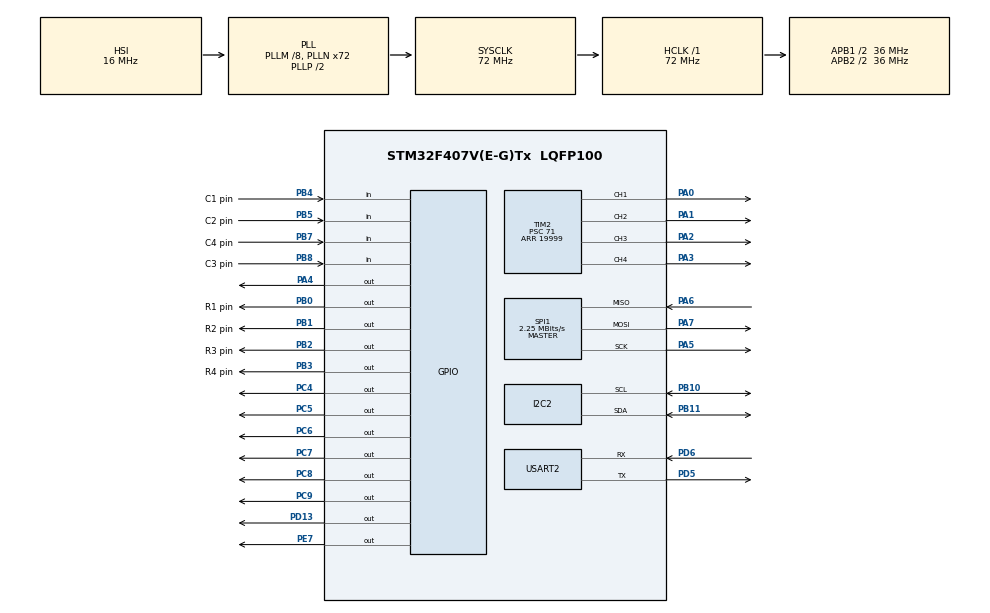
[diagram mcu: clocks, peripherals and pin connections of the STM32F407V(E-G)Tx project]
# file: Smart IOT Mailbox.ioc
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Mcu.Family=STM32F4
Mcu.Name=STM32F407V(E-G)Tx
Mcu.Package=LQFP100
NVIC.PriorityGroup=NVIC_PRIORITYGROUP_0
PA0-WKUP.Signal=S_TIM2_CH1_ETR
PA1.Signal=S_TIM2_CH2
PA13.Mode=Serial_Wire
PA13.Signal=SYS_JTMS-SWDIO
PA14.Mode=Serial_Wire
PA14.Signal=SYS_JTCK-SWCLK
PA2.Signal=S_TIM2_CH3
PA3.Signal=S_TIM2_CH4
PA4.Signal=GPIO_Output
PA5.Mode=Full_Duplex_Master
PA5.Signal=SPI1_SCK
PA6.Mode=Full_Duplex_Master
PA6.Signal=SPI1_MISO
PA7.Mode=Full_Duplex_Master
PA7.Signal=SPI1_MOSI
PB0.GPIO_Label=R1 pin
PB0.Signal=GPIO_Output
PB1.GPIO_Label=R2 pin
PB1.Signal=GPIO_Output
PB10.GPIO_Pu=GPIO_PULLUP
PB10.Mode=I2C
PB10.Signal=I2C2_SCL
PB11.GPIO_Pu=GPIO_PULLUP
PB11.Mode=I2C
PB11.Signal=I2C2_SDA
PB2.GPIO_Label=R3 pin
PB2.Signal=GPIO_Output
PB3.GPIO_Label=R4 pin
PB3.Signal=GPIO_Output
PB4.GPIO_Label=C1 pin
PB4.GPIO_PuPd=GPIO_PULLDOWN
PB4.Signal=GPIO_Input
PB5.GPIO_Label=C2 pin
PB5.GPIO_PuPd=GPIO_PULLDOWN
PB5.Signal=GPIO_Input
PB7.GPIO_Label=C4 pin
PB7.GPIO_PuPd=GPIO_PULLDOWN
PB7.Signal=GPIO_Input
PB8.GPIO_Label=C3 pin
PB8.GPIO_PuPd=GPIO_PULLDOWN
PB8.Signal=GPIO_Input
PC4.Signal=GPIO_Output
PC5.Signal=GPIO_Output
PC6.Signal=GPIO_Output
PC7.Signal=GPIO_Output
PC8.Signal=GPIO_Output
PC9.Signal=GPIO_Output
PD13.Signal=GPIO_Output
PD5.Mode=Asynchronous
PD5.Signal=USART2_TX
PD6.Mode=Asynchronous
PD6.Signal=USART2_RX
PE7.Signal=GPIO_Output
PH0-OSC_IN.Mode=HSE-External-Oscillator
PH0-OSC_IN.Signal=RCC_OSC_IN
PH1-OSC_OUT.Mode=HSE-External-Oscillator
PH1-OSC_OUT.Signal=RCC_OSC_OUT
ProjectManager.HeapSize=0x200
ProjectManager.StackSize=0x400
ProjectManager.TargetToolchain=STM32CubeIDE
RCC.48MHZClocksFreq_Value=20571428.57142857
RCC.AHBFreq_Value=72000000
RCC.APB1CLKDivider=RCC_HCLK_DIV2
RCC.APB1Freq_Value=36000000
RCC.APB1TimFreq_Value=72000000
RCC.APB2CLKDivider=RCC_HCLK_DIV2
RCC.APB2Freq_Value=36000000
RCC.APB2TimFreq_Value=72000000
RCC.CortexFreq_Value=72000000
RCC.HCLKFreq_Value=72000000
RCC.HSE_VALUE=8000000
RCC.HSI_VALUE=16000000
RCC.LSE_VALUE=32768
RCC.PLLM=8
RCC.PLLN=72
RCC.PLLQ=7
RCC.SYSCLKFreq_VALUE=72000000
RCC.SYSCLKSource=RCC_SYSCLKSOURCE_PLLCLK
RCC.VCOOutputFreq_Value=144000000
SH.S_TIM2_CH1_ETR.0=TIM2_CH1,PWM Generation1 CH1
SH.S_TIM2_CH2.0=TIM2_CH2,PWM Generation2 CH2
SH.S_TIM2_CH3.0=TIM2_CH3,PWM Generation3 CH3
SH.S_TIM2_CH4.0=TIM2_CH4,PWM Generation4 CH4
SPI1.BaudRatePrescaler=SPI_BAUDRATEPRESCALER_16
SPI1.CalculateBaudRate=2.25 MBits/s
SPI1.DataSize=SPI_DATASIZE_8BIT
SPI1.Direction=SPI_DIRECTION_2LINES
SPI1.Mode=SPI_MODE_MASTER
SPI1.VirtualType=VM_MASTER
TIM2.Channel-PWM\ Generation1\ CH1=TIM_CHANNEL_1
TIM2.Channel-PWM\ Generation2\ CH2=TIM_CHANNEL_2
TIM2.Channel-PWM\ Generation3\ CH3=TIM_CHANNEL_3
TIM2.Channel-PWM\ Generation4\ CH4=TIM_CHANNEL_4
TIM2.Period=19999
TIM2.Prescaler=71
USART2.VirtualMode=VM_ASYNC
VP_TIM2_VS_ClockSourceINT.Mode=Internal
board=STM32F407G-DISC1

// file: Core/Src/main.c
/* USER CODE BEGIN Header */
/**
  ******************************************************************************
  * @file           : main.c
  * @brief          : Main program body
  ******************************************************************************
  * @attention
  *
  * Copyright (c) 2025 STMicroelectronics.
  * All rights reserved.
  *
  * This software is licensed under terms that can be found in the LICENSE file
  * in the root directory of this software component.
  * If no LICENSE file comes with this software, it is provided AS-IS.
  *
  ******************************************************************************
  */
/* USER CODE END Header */
#include "main.h"

/* USER CODE BEGIN Includes */
#include "RC522.h"
#include "2RC522.h"
#include "string.h"
#include "liquidcrystal_i2c.h"
#include "stdlib.h"
#include "stdbool.h"
/* USER CODE END Includes */

/* USER CODE BEGIN PTD */

#define startAddress 0x080E0000

typedef struct{
	uchar mailCount;
	uchar parcelCount;
	uchar mailFlag;
	uchar parcelFlag;
}user_t;

typedef enum {
	HOME_SCREEN,
    MAIN_MENU,
    USER_MENU,
    MAIL_MENU,
    PACKAGE_MENU,
    CHECK_MAIL,
    RETRIEVE_MAIL,
    CHECK_PACKAGE,
    RETRIEVE_PACKAGE
} MenuState_t;
/* USER CODE END PTD */

/* USER CODE BEGIN PD */
#define TRUE 1
#define FALSE 0
#define MAX_ATTEMPTS 3
/* USER CODE END PD */

I2C_HandleTypeDef hi2c2;

SPI_HandleTypeDef hspi1;

TIM_HandleTypeDef htim2;

UART_HandleTypeDef huart2;

/* USER CODE BEGIN PV */
uchar status;
uchar str[16];
uchar sNum[5];

//user UID's
uchar user1[5] = {227,255,193,12,209};
uchar user2[5] = {163,139,152,61,141};
uchar user3[5] = {181,129,175,33,186};
uchar user4[5] = {85,31,230,33,141};
uchar user5[5] = {201,78,64,148,83};
uchar user6[5] = {57,149,59,148,3};

user_t user1Info = {0,0,0,0};
user_t user2Info = {0,0,0,0};
user_t user3Info = {0,0,0,0};

MenuState_t currentState = MAIN_MENU;
uint8_t currentUser = 0;  // User 1, 2, or 3

char txData[];

char genPassword1[5] = "1234";
char genPassword2[5] = "5678";
char genPassword3[5] = "9876";
char genPassword4[5] = "5555";
char genPassword5[5] = "6666";
char genPassword6[5] = "7777";
char inputPassword[5];   // Buffer to store entered password
uint8_t passwordIndex = 0;
uint8_t attempts = 0;
bool enteringPassword = FALSE;

char buf[70];
char buf1[8];

/* USER CODE END PV */

void SystemClock_Config(void);
static void MX_GPIO_Init(void);
static void MX_SPI1_Init(void);
static void MX_TIM2_Init(void);
static void MX_I2C2_Init(void);
static void MX_USART2_UART_Init(void);
/* USER CODE BEGIN PFP */

char scanKeys(void);
uchar compareIntArrays(uchar *arr1, uchar *arr2, uchar size);
uchar readtagsFromRDR1 ();
uchar readtagsFromRDR2 ();
void clearArrayEle (uchar *arrPtr, uchar size);
uchar checkValidUser(uchar *arr1, uchar *arr2, uchar *arr3, uchar *arr4, uchar *arr5, uchar *arr6, uchar size);

void welcomeMsglcd (void);
void newNotificationlcd(const char *line1, const char *line2, uint16_t delay_ms);
void setLCDHMIscreen(const char *line1, const char *line2);

void DisplayMenu(MenuState_t state, char key);
char* getUserPassword();
void HandleInput(char key);

void generate_password(uchar *password);

/* USER CODE END PFP */

int main(void)
{

  /* USER CODE BEGIN 1 */
	uchar statusRDR1;
	uchar statusRDR2;
	uchar compareFlag;
	uchar compareFlag2;
	uchar userValidmail;
	uchar userValidpack;

  /* USER CODE END 1 */

  /* MCU Configuration--------------------------------------------------------*/

  /* Reset of all peripherals, Initializes the Flash interface and the Systick. */
  HAL_Init();

  /* Configure the system clock */
  SystemClock_Config();

  /* Initialize all configured peripherals */
  MX_GPIO_Init();
  MX_SPI1_Init();
  MX_TIM2_Init();
  MX_I2C2_Init();
  MX_USART2_UART_Init();
  /* USER CODE BEGIN 2 */

  MFRC522_1_Init();
  MFRC522_2_Init();

  HAL_TIM_PWM_Start_IT(&htim2, TIM_CHANNEL_1);
  HAL_TIM_PWM_Start_IT(&htim2, TIM_CHANNEL_2);
  HAL_TIM_PWM_Start_IT(&htim2, TIM_CHANNEL_3);
  HAL_TIM_PWM_Start_IT(&htim2, TIM_CHANNEL_4);

  HD44780_Init(2);
  HD44780_Clear();
  HD44780_SetCursor(0,0);
  HD44780_PrintStr("HELLO");
  HD44780_SetCursor(6,0);
  HD44780_PrintStr("WORLD");
  HAL_Delay(2000);
  HD44780_Clear();
  HD44780_SetCursor(0,0);
  HD44780_PrintStr("Welcome to ");
  HD44780_SetCursor(0,1);
  HD44780_PrintStr("Smart IOTmailbox");
  HAL_Delay(5000);
	//HD44780_Clear();
	//HD44780_SetCursor(0,0);
	//HD44780_PrintStr("Press 0 To Strt");

  /*LCD code
  HD44780_Clear();
  HD44780_SetCursor(0,0);
  HD44780_PrintStr("HELLO");
  HAL_Delay(2000);
  HD44780_NoBacklight();
  HAL_Delay(2000);
  HD44780_Backlight();

  HAL_Delay(2000);
  HD44780_Cursor();
  HAL_Delay(2000);
  HD44780_Blink();
  HAL_Delay(5000);
  HD44780_NoBlink();
  HAL_Delay(2000);
  HD44780_NoCursor();
  HAL_Delay(2000);

  HD44780_NoDisplay();
  HAL_Delay(2000);
  HD44780_Display();

  HD44780_Clear();
  HD44780_SetCursor(0,0);
  HD44780_PrintStr("Learning STM32 with LCD is fun :-)");
  int x;
  for(int x=0; x<40; x=x+1)
  {
	 HD44780_ScrollDisplayLeft();  //HD44780_ScrollDisplayRight();
	 HAL_Delay(500);
  }

  char snum[5];
  for ( int x = 1; x <= 200 ; x++ )
  {
      itoa(x, snum, 10);
	  HD44780_Clear();
	  HD44780_SetCursor(0,0);
	  HD44780_PrintStr(snum);
	  HAL_Delay (1000);
  }*/

  /* USER CODE END 2 */

  /* Infinite loop */
  while (1)
  {

    /* USER CODE BEGIN 3 */
	  	 //scan for key pressed
		 char key = scanKeys();
		 if(key)
		 {
			 //function for action related to key pressed
			 HandleInput(key);//HMI function
		 }

	  //Scan from reader 1 for post mails
	  	statusRDR1 = readtagsFromRDR1();
	  	//IF valid read then enter
	  	if(! statusRDR1)
	  	{
	  		userValidmail = checkValidUser(sNum, user1, user2, user3, user4, user5, 5);
	  		if(userValidmail)
	  		{
	  			//user 1 is assigned two mails
				compareFlag =  compareIntArrays(sNum, user1, 5);
				compareFlag2 =  compareIntArrays(sNum, user4, 5);
				//check how many mails user 1 has
				if(compareFlag || compareFlag2 )
				{
					user1Info.mailCount++;
					if(user1Info.mailFlag != TRUE)
					{
						user1Info.mailFlag = TRUE;
					}

					//If has one mail
					if(user1Info.mailCount == 1 )
					{
						 //sorting flap
						__HAL_TIM_SET_COMPARE(&htim2, TIM_CHANNEL_2, 1100);
						HAL_Delay(2000);
						//top flap
						__HAL_TIM_SET_COMPARE(&htim2, TIM_CHANNEL_1, 500);
						HAL_Delay(1000);

						//re-allign flap to initial position
						__HAL_TIM_SET_COMPARE(&htim2, TIM_CHANNEL_1, 1500);
						HAL_Delay(1000);
						__HAL_TIM_SET_COMPARE(&htim2, TIM_CHANNEL_2, 1500);

						newNotificationlcd("User 1 got", "a new mail", 2000);
						generate_password(genPassword1);
						newNotificationlcd(genPassword1, " ", 1000);

						for(int i=0; i<30;i++)
						{
							HAL_GPIO_TogglePin(GPIOC, GPIO_PIN_6);
							HAL_Delay(100); // 10ms delay
						}
						HAL_GPIO_WritePin(GPIOC, GPIO_PIN_6, GPIO_PIN_SET);

						//save the notification locally and send it to the ESP32
						sprintf(buf1,"USER1\n\r");
						HAL_UART_Transmit(&huart2,buf1,sizeof(buf1), HAL_MAX_DELAY);
						clearArrayEle(buf1 ,8);

						//save the notification locally and send it to the ESP32
						sprintf(buf,"User 1 has got a new mail. Your one time password is %s\n",genPassword1);
						HAL_UART_Transmit(&huart2,buf,sizeof(buf), HAL_MAX_DELAY);
						clearArrayEle(buf ,70);

					}

					//if has more than one mail
					else if(user1Info.mailCount > 1 )
					{
						__HAL_TIM_SET_COMPARE(&htim2, TIM_CHANNEL_2, 1100);
						HAL_Delay(2000);
						//top flap
						__HAL_TIM_SET_COMPARE(&htim2, TIM_CHANNEL_1, 500);
						HAL_Delay(1000);

						//re-allign flap to initial position
						__HAL_TIM_SET_COMPARE(&htim2, TIM_CHANNEL_1, 1500);
						HAL_Delay(1000);
						__HAL_TIM_SET_COMPARE(&htim2, TIM_CHANNEL_2, 1500);

						newNotificationlcd("User 1 got", "2 new mail", 2000);
						generate_password(genPassword1);
						newNotificationlcd(genPassword1, " ", 1000);
						//flash led for 3 secs and set it
						for(int i=0; i<30;i++)
						{
							HAL_GPIO_TogglePin(GPIOC, GPIO_PIN_6);
							HAL_Delay(100); // 10ms delay
						}
						HAL_GPIO_WritePin(GPIOC, GPIO_PIN_6, GPIO_PIN_SET);
						//save the notification locally and send it to the ESP32
						sprintf(buf1,"USER1\n\r");
						HAL_UART_Transmit(&huart2,buf1,sizeof(buf1), HAL_MAX_DELAY);
						clearArrayEle(buf1 ,8);
						//save the notification locally and send it to the ESP32
						sprintf(buf,"User 1 has got 2 new mails. Your one time password is %s\n",genPassword1);
						HAL_UART_Transmit(&huart2,buf,sizeof(buf), HAL_MAX_DELAY);
						clearArrayEle(buf ,70);
					}
					clearArrayEle(sNum ,5);
					welcomeMsglcd();

				}

				//if user 2 has mail
				compareFlag =  compareIntArrays(sNum, user2, 5);
				if(compareFlag)
				{
					if(user2Info.mailFlag != TRUE)
					{
						user2Info.mailFlag = TRUE;
					}
					//sorting flap
					__HAL_TIM_SET_COMPARE(&htim2, TIM_CHANNEL_3, 800);
					HAL_Delay(2000);
					//top flap
					__HAL_TIM_SET_COMPARE(&htim2, TIM_CHANNEL_1, 500);
					HAL_Delay(1000);

					//re-allign flap to initial position
					__HAL_TIM_SET_COMPARE(&htim2, TIM_CHANNEL_1, 1500);
					HAL_Delay(1000);
					__HAL_TIM_SET_COMPARE(&htim2, TIM_CHANNEL_3, 1500);

					newNotificationlcd("User 2 got", "a new mail", 2000);
					generate_password(genPassword2);
					newNotificationlcd(genPassword2, " ", 1000);
					//flash led for 3secs and set it
					for(int i=0; i<30;i++)
					{
						HAL_GPIO_TogglePin(GPIOC, GPIO_PIN_7);
						HAL_Delay(100); // 10ms delay
					}
					HAL_GPIO_WritePin(GPIOC, GPIO_PIN_7, GPIO_PIN_SET);

					//save the notification locally and send it to the ESP32
					sprintf(buf1,"USER2\n\r");
					HAL_UART_Transmit(&huart2,buf1,sizeof(buf1), HAL_MAX_DELAY);
					clearArrayEle(buf1 ,8);

					//save the notification locally and send it to the ESP32
					sprintf(buf,"User 2 has got a new mail. Your one time password is %s\n\r",genPassword2);
					HAL_UART_Transmit(&huart2,buf,sizeof(buf), HAL_MAX_DELAY);
					clearArrayEle(buf ,70);

					clearArrayEle(sNum ,5);
					welcomeMsglcd();
				}

				//if user 3 has mail
				compareFlag =  compareIntArrays(sNum, user3, 5);
				if(compareFlag)
				{
					if(user3Info.mailFlag != TRUE)
					{
						user3Info.mailFlag = TRUE;
					}
					//intake flap
					__HAL_TIM_SET_COMPARE(&htim2, TIM_CHANNEL_1, 500);
					HAL_Delay(3000);
					//re-allign flap to initial position
					__HAL_TIM_SET_COMPARE(&htim2, TIM_CHANNEL_1, 1500);

					newNotificationlcd("User 3 got", "a new mail", 2000);
					generate_password(genPassword3);
					newNotificationlcd(genPassword3, " ", 1000);
					//flash led for 3secs and set it
					for(int i=0; i<30;i++)
					{
						HAL_GPIO_TogglePin(GPIOC, GPIO_PIN_8);
						HAL_Delay(100); // 10ms delay
					}
					HAL_GPIO_WritePin(GPIOC, GPIO_PIN_8, GPIO_PIN_SET);

					//save the notification locally and send it to the ESP32
					sprintf(buf,"USER3\n");
					HAL_UART_Transmit(&huart2,buf,sizeof(buf), HAL_MAX_DELAY);
					HAL_Delay(200);

					//save the notification locally and send it to the ESP32
					sprintf(buf,"User 3 has got a new mail. Your one time password is %s\n",genPassword3);
					HAL_UART_Transmit(&huart2,buf,sizeof(buf), HAL_MAX_DELAY);

					clearArrayEle(sNum ,5);
					welcomeMsglcd();
				}
	  		}//end of valid user

			//if not a valid user display message
	  		else
	  		{
	  			newNotificationlcd("Not a valid user", " ", 2000);
	  		}
	  		clearArrayEle(sNum ,5);
	  		welcomeMsglcd();
	  	}//end of first read

	  	//Scan from reader 2 for packages
	  	statusRDR2 = readtagsFromRDR2();

	  	//if a valid read
	  	if(! statusRDR2)
	  	{
	  		userValidpack = checkValidUser(sNum, user1, user2, user3, user4, user5, 5);
	  		if(userValidpack)
	  		{
	  			//Operate compartment only for 1 user. Should not operate if other User has package
				compareFlag =  compareIntArrays(sNum, user1, 5);
				compareFlag2 =  compareIntArrays(sNum, user5, 5);
				if((compareFlag || compareFlag2) && !(user1Info.parcelFlag) && !(user2Info.parcelFlag) && !(user3Info.parcelFlag))
				{
					if(user1Info.parcelFlag != TRUE)
					{
						user1Info.parcelFlag = TRUE;
					}
					__HAL_TIM_SET_COMPARE(&htim2, TIM_CHANNEL_4, 1500);
					setLCDHMIscreen("Put the package","in the box below");
					//allow delay to place the package and close after delay
					HAL_Delay(10000);
					__HAL_TIM_SET_COMPARE(&htim2, TIM_CHANNEL_4, 500);

					newNotificationlcd("User 1 got", "a new package", 2000);
					//generate new password and display
					generate_password(genPassword4);
					newNotificationlcd(genPassword4, " ", 3000);
					//flash led for 3secs and set it
					for(int i=0; i<30;i++)
					{
						HAL_GPIO_TogglePin(GPIOC, GPIO_PIN_9);
						HAL_Delay(100); // 10ms delay
					}
					HAL_GPIO_WritePin(GPIOC, GPIO_PIN_9, GPIO_PIN_SET);

					//save the notification locally and send it to the ESP32
					sprintf(buf1,"USER1\n\r");
					HAL_UART_Transmit(&huart2,buf1,sizeof(buf1), HAL_MAX_DELAY);
					clearArrayEle(buf1 ,8);
					//save the notification locally and send it to the ESP32
					sprintf(buf,"User 1 has got a new package. Your one time password is %s\n",genPassword4);
					HAL_UART_Transmit(&huart2,buf,sizeof(buf), HAL_MAX_DELAY);

					clearArrayEle(sNum ,5);
					welcomeMsglcd();
				}

				//Operate compartment only for 1 user. Should not operate if other User has package
				compareFlag =  compareIntArrays(sNum, user2, 5);
				if(compareFlag && !(user1Info.parcelFlag) && !(user2Info.parcelFlag) && !(user3Info.parcelFlag))
				{
					if(user2Info.parcelFlag != TRUE)
					{
						user2Info.parcelFlag = TRUE;
					}

					__HAL_TIM_SET_COMPARE(&htim2, TIM_CHANNEL_4, 1500);
					setLCDHMIscreen("Put the package","in the box below");
					//allow delay to place the package and close after delay
					HAL_Delay(10000);
					__HAL_TIM_SET_COMPARE(&htim2, TIM_CHANNEL_4, 500);

					newNotificationlcd("User 2 got", "a new package", 2000);
					//generate new password and display
					generate_password(genPassword5);
					newNotificationlcd(genPassword5, " ", 3000);
					//flash led for 3secs and set it
					for(int i=0; i<30;i++)
					{
						HAL_GPIO_TogglePin(GPIOC, GPIO_PIN_9);
						HAL_Delay(100); // 10ms delay
					}
					HAL_GPIO_WritePin(GPIOC, GPIO_PIN_9, GPIO_PIN_SET);

					//save the notification locally and send it to the ESP32
					sprintf(buf1,"USER2\n\r");
					HAL_UART_Transmit(&huart2,buf1,sizeof(buf1), HAL_MAX_DELAY);
					clearArrayEle(buf1 ,8);
					//save the notification locally and send it to the ESP32
					sprintf(buf,"User 2 has got a new package. Your one time password is %s\n",genPassword5);
					HAL_UART_Transmit(&huart2,buf,sizeof(buf), HAL_MAX_DELAY);

					clearArrayEle(sNum ,5);
					welcomeMsglcd();
				}

				//Operate compartment only for 1 user. Should not operate if other User has package
				compareFlag =  compareIntArrays(sNum, user3, 5);
				if(compareFlag && !(user1Info.parcelFlag) && !(user2Info.parcelFlag) && !(user3Info.parcelFlag))
				{
					if(user3Info.parcelFlag != TRUE)
					{
						user3Info.parcelFlag = TRUE;
					}

					__HAL_TIM_SET_COMPARE(&htim2, TIM_CHANNEL_4, 1500);
					setLCDHMIscreen("Put the package","in the box below");
					//allow delay to place the package and close after delay
					HAL_Delay(10000);
					__HAL_TIM_SET_COMPARE(&htim2, TIM_CHANNEL_4, 500);

					newNotificationlcd("User 3 got", "a new mail", 2000);
					//generate new password and display
					generate_password(genPassword6);
					newNotificationlcd(genPassword6, " ", 3000);
					//flash LED for 3secs and set it
					for(int i=0; i<30;i++)
					{
						HAL_GPIO_TogglePin(GPIOC, GPIO_PIN_9);
						HAL_Delay(100); // 10ms delay
					}
					HAL_GPIO_WritePin(GPIOC, GPIO_PIN_9, GPIO_PIN_SET);

					//save the notification locally and send it to the ESP32
					sprintf(buf1,"USER3\n\r");
					HAL_UART_Transmit(&huart2,buf1,sizeof(buf1), HAL_MAX_DELAY);
					clearArrayEle(buf1 ,8);
					//save the notification locally and send it to the ESP32
					sprintf(buf,"User 2 has got a new package. Your one time password is %s\n",genPassword6);
					HAL_UART_Transmit(&huart2,buf,sizeof(buf), HAL_MAX_DELAY);

					clearArrayEle(sNum ,5);
					welcomeMsglcd();
				}

				//If not a valid read display message
				if(user1Info.parcelFlag || user2Info.parcelFlag || user1Info.parcelFlag)
				{
					newNotificationlcd("Already Occupied", " ", 2000);
					//flash led for 3secs and set it
					for(int i=0; i<30;i++)
					{
						HAL_GPIO_TogglePin(GPIOC, GPIO_PIN_9);
						HAL_Delay(100); // 10ms delay
					}
					HAL_GPIO_WritePin(GPIOC, GPIO_PIN_9, GPIO_PIN_SET);
				}
				clearArrayEle(sNum ,5);
				welcomeMsglcd();
	  		}//end of valid user

	  		else
	  		{
	  			newNotificationlcd("Not a valid user", " ", 2000);
	  		}
	  		clearArrayEle(sNum ,5);
	  		welcomeMsglcd();
	  	}//end of second read

  }
  /* USER CODE END 3 */
}

void SystemClock_Config(void)
{
  RCC_OscInitTypeDef RCC_OscInitStruct = {0};
  RCC_ClkInitTypeDef RCC_ClkInitStruct = {0};

  /** Configure the main internal regulator output voltage
  */
  __HAL_RCC_PWR_CLK_ENABLE();
  __HAL_PWR_VOLTAGESCALING_CONFIG(PWR_REGULATOR_VOLTAGE_SCALE1);

  /** Initializes the RCC Oscillators according to the specified parameters
  * in the RCC_OscInitTypeDef structure.
  */
  RCC_OscInitStruct.OscillatorType = RCC_OSCILLATORTYPE_HSI;
  RCC_OscInitStruct.HSIState = RCC_HSI_ON;
  RCC_OscInitStruct.HSICalibrationValue = RCC_HSICALIBRATION_DEFAULT;
  RCC_OscInitStruct.PLL.PLLState = RCC_PLL_ON;
  RCC_OscInitStruct.PLL.PLLSource = RCC_PLLSOURCE_HSI;
  RCC_OscInitStruct.PLL.PLLM = 8;
  RCC_OscInitStruct.PLL.PLLN = 72;
  RCC_OscInitStruct.PLL.PLLP = RCC_PLLP_DIV2;
  RCC_OscInitStruct.PLL.PLLQ = 7;
  if (HAL_RCC_OscConfig(&RCC_OscInitStruct) != HAL_OK)
  {
    Error_Handler();
  }

  /** Initializes the CPU, AHB and APB buses clocks
  */
  RCC_ClkInitStruct.ClockType = RCC_CLOCKTYPE_HCLK|RCC_CLOCKTYPE_SYSCLK
                              |RCC_CLOCKTYPE_PCLK1|RCC_CLOCKTYPE_PCLK2;
  RCC_ClkInitStruct.SYSCLKSource = RCC_SYSCLKSOURCE_PLLCLK;
  RCC_ClkInitStruct.AHBCLKDivider = RCC_SYSCLK_DIV1;
  RCC_ClkInitStruct.APB1CLKDivider = RCC_HCLK_DIV2;
  RCC_ClkInitStruct.APB2CLKDivider = RCC_HCLK_DIV2;

  if (HAL_RCC_ClockConfig(&RCC_ClkInitStruct, FLASH_LATENCY_2) != HAL_OK)
  {
    Error_Handler();
  }
}

static void MX_I2C2_Init(void)
{

  hi2c2.Instance = I2C2;
  hi2c2.Init.ClockSpeed = 100000;
  hi2c2.Init.DutyCycle = I2C_DUTYCYCLE_2;
  hi2c2.Init.OwnAddress1 = 0;
  hi2c2.Init.AddressingMode = I2C_ADDRESSINGMODE_7BIT;
  hi2c2.Init.DualAddressMode = I2C_DUALADDRESS_DISABLE;
  hi2c2.Init.OwnAddress2 = 0;
  hi2c2.Init.GeneralCallMode = I2C_GENERALCALL_DISABLE;
  hi2c2.Init.NoStretchMode = I2C_NOSTRETCH_DISABLE;
  if (HAL_I2C_Init(&hi2c2) != HAL_OK)
  {
    Error_Handler();
  }

}

static void MX_SPI1_Init(void)
{

  /* SPI1 parameter configuration*/
  hspi1.Instance = SPI1;
  hspi1.Init.Mode = SPI_MODE_MASTER;
  hspi1.Init.Direction = SPI_DIRECTION_2LINES;
  hspi1.Init.DataSize = SPI_DATASIZE_8BIT;
  hspi1.Init.CLKPolarity = SPI_POLARITY_LOW;
  hspi1.Init.CLKPhase = SPI_PHASE_1EDGE;
  hspi1.Init.NSS = SPI_NSS_SOFT;
  hspi1.Init.BaudRatePrescaler = SPI_BAUDRATEPRESCALER_16;
  hspi1.Init.FirstBit = SPI_FIRSTBIT_MSB;
  hspi1.Init.TIMode = SPI_TIMODE_DISABLE;
  hspi1.Init.CRCCalculation = SPI_CRCCALCULATION_DISABLE;
  hspi1.Init.CRCPolynomial = 10;
  if (HAL_SPI_Init(&hspi1) != HAL_OK)
  {
    Error_Handler();
  }

}

static void MX_TIM2_Init(void)
{

  TIM_ClockConfigTypeDef sClockSourceConfig = {0};
  TIM_MasterConfigTypeDef sMasterConfig = {0};
  TIM_OC_InitTypeDef sConfigOC = {0};

  htim2.Instance = TIM2;
  htim2.Init.Prescaler = 71;
  htim2.Init.CounterMode = TIM_COUNTERMODE_UP;
  htim2.Init.Period = 19999;
  htim2.Init.ClockDivision = TIM_CLOCKDIVISION_DIV1;
  htim2.Init.AutoReloadPreload = TIM_AUTORELOAD_PRELOAD_DISABLE;
  if (HAL_TIM_Base_Init(&htim2) != HAL_OK)
  {
    Error_Handler();
  }
  sClockSourceConfig.ClockSource = TIM_CLOCKSOURCE_INTERNAL;
  if (HAL_TIM_ConfigClockSource(&htim2, &sClockSourceConfig) != HAL_OK)
  {
    Error_Handler();
  }
  if (HAL_TIM_PWM_Init(&htim2) != HAL_OK)
  {
    Error_Handler();
  }
  sMasterConfig.MasterOutputTrigger = TIM_TRGO_RESET;
  sMasterConfig.MasterSlaveMode = TIM_MASTERSLAVEMODE_DISABLE;
  if (HAL_TIMEx_MasterConfigSynchronization(&htim2, &sMasterConfig) != HAL_OK)
  {
    Error_Handler();
  }
  sConfigOC.OCMode = TIM_OCMODE_PWM1;
  sConfigOC.Pulse = 0;
  sConfigOC.OCPolarity = TIM_OCPOLARITY_HIGH;
  sConfigOC.OCFastMode = TIM_OCFAST_DISABLE;
  if (HAL_TIM_PWM_ConfigChannel(&htim2, &sConfigOC, TIM_CHANNEL_1) != HAL_OK)
  {
    Error_Handler();
  }
  if (HAL_TIM_PWM_ConfigChannel(&htim2, &sConfigOC, TIM_CHANNEL_2) != HAL_OK)
  {
    Error_Handler();
  }
  if (HAL_TIM_PWM_ConfigChannel(&htim2, &sConfigOC, TIM_CHANNEL_3) != HAL_OK)
  {
    Error_Handler();
  }
  if (HAL_TIM_PWM_ConfigChannel(&htim2, &sConfigOC, TIM_CHANNEL_4) != HAL_OK)
  {
    Error_Handler();
  }
  HAL_TIM_MspPostInit(&htim2);

}

static void MX_USART2_UART_Init(void)
{

  huart2.Instance = USART2;
  huart2.Init.BaudRate = 115200;
  huart2.Init.WordLength = UART_WORDLENGTH_8B;
  huart2.Init.StopBits = UART_STOPBITS_1;
  huart2.Init.Parity = UART_PARITY_NONE;
  huart2.Init.Mode = UART_MODE_TX_RX;
  huart2.Init.HwFlowCtl = UART_HWCONTROL_NONE;
  huart2.Init.OverSampling = UART_OVERSAMPLING_16;
  if (HAL_UART_Init(&huart2) != HAL_OK)
  {
    Error_Handler();
  }

}

static void MX_GPIO_Init(void)
{
  GPIO_InitTypeDef GPIO_InitStruct = {0};

  /* GPIO Ports Clock Enable */
  __HAL_RCC_GPIOH_CLK_ENABLE();
  __HAL_RCC_GPIOA_CLK_ENABLE();
  __HAL_RCC_GPIOC_CLK_ENABLE();
  __HAL_RCC_GPIOB_CLK_ENABLE();
  __HAL_RCC_GPIOE_CLK_ENABLE();
  __HAL_RCC_GPIOD_CLK_ENABLE();

  /*Configure GPIO pin Output Level */
  HAL_GPIO_WritePin(GPIOA, GPIO_PIN_4, GPIO_PIN_RESET);

  /*Configure GPIO pin Output Level */
  HAL_GPIO_WritePin(GPIOC, GPIO_PIN_4|GPIO_PIN_5|GPIO_PIN_6|GPIO_PIN_7
                          |GPIO_PIN_8|GPIO_PIN_9, GPIO_PIN_RESET);

  /*Configure GPIO pin Output Level */
  HAL_GPIO_WritePin(GPIOB, R1_pin_Pin|R2_pin_Pin|R3_pin_Pin|R4_pin_Pin, GPIO_PIN_RESET);

  /*Configure GPIO pin Output Level */
  HAL_GPIO_WritePin(GPIOE, GPIO_PIN_7, GPIO_PIN_RESET);

  /*Configure GPIO pin Output Level */
  HAL_GPIO_WritePin(GPIOD, GPIO_PIN_13, GPIO_PIN_RESET);

  /*Configure GPIO pin : PA4 */
  GPIO_InitStruct.Pin = GPIO_PIN_4;
  GPIO_InitStruct.Mode = GPIO_MODE_OUTPUT_PP;
  GPIO_InitStruct.Pull = GPIO_NOPULL;
  GPIO_InitStruct.Speed = GPIO_SPEED_FREQ_LOW;
  HAL_GPIO_Init(GPIOA, &GPIO_InitStruct);

  /*Configure GPIO pins : PC4 PC5 PC6 PC7
                           PC8 PC9 */
  GPIO_InitStruct.Pin = GPIO_PIN_4|GPIO_PIN_5|GPIO_PIN_6|GPIO_PIN_7
                          |GPIO_PIN_8|GPIO_PIN_9;
  GPIO_InitStruct.Mode = GPIO_MODE_OUTPUT_PP;
  GPIO_InitStruct.Pull = GPIO_NOPULL;
  GPIO_InitStruct.Speed = GPIO_SPEED_FREQ_LOW;
  HAL_GPIO_Init(GPIOC, &GPIO_InitStruct);

  /*Configure GPIO pins : R1_pin_Pin R2_pin_Pin R3_pin_Pin R4_pin_Pin */
  GPIO_InitStruct.Pin = R1_pin_Pin|R2_pin_Pin|R3_pin_Pin|R4_pin_Pin;
  GPIO_InitStruct.Mode = GPIO_MODE_OUTPUT_PP;
  GPIO_InitStruct.Pull = GPIO_NOPULL;
  GPIO_InitStruct.Speed = GPIO_SPEED_FREQ_LOW;
  HAL_GPIO_Init(GPIOB, &GPIO_InitStruct);

  /*Configure GPIO pin : PE7 */
  GPIO_InitStruct.Pin = GPIO_PIN_7;
  GPIO_InitStruct.Mode = GPIO_MODE_OUTPUT_PP;
  GPIO_InitStruct.Pull = GPIO_NOPULL;
  GPIO_InitStruct.Speed = GPIO_SPEED_FREQ_LOW;
  HAL_GPIO_Init(GPIOE, &GPIO_InitStruct);

  /*Configure GPIO pin : PD13 */
  GPIO_InitStruct.Pin = GPIO_PIN_13;
  GPIO_InitStruct.Mode = GPIO_MODE_OUTPUT_PP;
  GPIO_InitStruct.Pull = GPIO_NOPULL;
  GPIO_InitStruct.Speed = GPIO_SPEED_FREQ_LOW;
  HAL_GPIO_Init(GPIOD, &GPIO_InitStruct);

  /*Configure GPIO pins : C1_pin_Pin C2_pin_Pin C4_pin_Pin C3_pin_Pin */
  GPIO_InitStruct.Pin = C1_pin_Pin|C2_pin_Pin|C4_pin_Pin|C3_pin_Pin;
  GPIO_InitStruct.Mode = GPIO_MODE_INPUT;
  GPIO_InitStruct.Pull = GPIO_PULLDOWN;
  HAL_GPIO_Init(GPIOB, &GPIO_InitStruct);

}

/* USER CODE BEGIN 4 */

//Function to erase flash memory

//FUnction to scan keys from keypad
/*Description : 	This function reads the keypad connected to uC and dtermines which key was pressed
Author: 		Siddhant Mahindrkar
Date: 			15/04/2025
Inputs: 		None
Output: 		Char '' value of the key pressed
*/
char scanKeys(void)
{
    // Set all rows LOW initially
    HAL_GPIO_WritePin(R1_pin_GPIO_Port, R1_pin_Pin | R2_pin_Pin | R3_pin_Pin | R4_pin_Pin, GPIO_PIN_RESET);
    HAL_Delay(1);  // Small delay for stability

    char keypad[4][4] = {
        {'1', '2', '3', 'A'},
        {'4', '5', '6', 'B'},
        {'7', '8', '9', 'C'},
        {'*', '0', '#', 'D'}
    };
    char lastKey = 0;  // Stores the last key pressed, initialized to no key
    char currentKey = 0;  // Stores the currently detected key
    char noKey = 0;  // No key pressed condition

    GPIO_TypeDef* row_ports[4] = {R1_pin_GPIO_Port, R2_pin_GPIO_Port, R3_pin_GPIO_Port, R4_pin_GPIO_Port};
    uint16_t row_pins[4] = {R1_pin_Pin, R2_pin_Pin, R3_pin_Pin, R4_pin_Pin};

    GPIO_TypeDef* col_ports[4] = {C1_pin_GPIO_Port, C2_pin_GPIO_Port, C3_pin_GPIO_Port, C4_pin_GPIO_Port};
    uint16_t col_pins[4] = {C1_pin_Pin, C2_pin_Pin, C3_pin_Pin, C4_pin_Pin};

    // Read the keypad in rows
    for (int row = 0; row < 4; row++)
    {
        // Set all rows low, then one row high at a time
        // Reset all rows to low
        HAL_GPIO_WritePin(row_ports[row], row_pins[row], GPIO_PIN_RESET);
        // Set one row high
        HAL_GPIO_WritePin(row_ports[row], row_pins[row], GPIO_PIN_SET);
        HAL_Delay(1);  // Short delay to stabilize

        // Check each column for key press
        for (int col = 0; col < 4; col++)
        {
            if (HAL_GPIO_ReadPin(col_ports[col], col_pins[col]) == GPIO_PIN_SET)
            {
                currentKey = keypad[row][col];  // Store the current key

                // Register the key press only if it is not already registered
                if (currentKey != lastKey)
                {
                    lastKey = currentKey;  // Update lastKey to current key
                    return currentKey;  // Immediately return the key that is pressed
                }
            }
        }
        HAL_GPIO_WritePin(row_ports[row], row_pins[row], GPIO_PIN_RESET);
    }
    HAL_GPIO_WritePin(R1_pin_GPIO_Port, R1_pin_Pin | R2_pin_Pin | R3_pin_Pin | R4_pin_Pin, GPIO_PIN_RESET);
    // If no key is pressed, return the "no press" state
    if (currentKey == noKey)
    {
        return '\0';  // Return '0' or some indicator to show no key is pressed
    }
}

//Function to read from Tag reader1
/*Description:  This function reads from the MFRC522 reader1 using polling method in uC. Reader is connected on SPI bus,
Author: 		Siddhant Mahindrkar
Date: 			15/04/2025
Inputs: 		None
Output: 		uint8_t: either 0,1,2 0 for sucessful read and 2 if error occured 1 if incomplete read
*/
uchar readtagsFromRDR1 (void)
{
	uchar readSucess;
	uchar status;
	Write_1_MFRC522(Status2Reg, 0);
	Read_1_MFRC522(Status2Reg);
	readSucess = MFRC522_1_Request( PICC_REQIDL , str);
	if(readSucess == MI_OK)
	{
	  readSucess = MFRC522_1_Anticoll(str);
	  if(readSucess == MI_OK)
	  {
		  memcpy(sNum,str,5);
		  status = MFRC522_1_SelectTag(sNum);
		  if(status > 0)
		  {
			  MFRC522_1_Halt();// Halt previous card
			  MFRC522_1_StopCrypto1();

		  }
	  }
	}
	MFRC522_1_Halt();// Halt previous card
	MFRC522_1_StopCrypto1();
	HAL_Delay(100);
	return readSucess;
}

//Function to read from Tag reader2
/*Description:  This function reads from the MFRC522 reader2 using polling method in uC. Reader is connected on SPI bus,
Author: 		Siddhant Mahindrkar
Date: 			15/04/2025
Inputs: 		None
Output: 		uint8_t: either 0,1,2 0 for successful read and 2 if error occured 1 if incomplete read
*/
uchar readtagsFromRDR2 (void)
{
	uchar readSucess;
	uchar status;
	Write_2_MFRC522(Status2Reg, 0);
	Read_2_MFRC522(Status2Reg);
	readSucess = MFRC522_2_Request( PICC_REQIDL , str);
	if(readSucess == MI_OK)
	{
      readSucess = MFRC522_2_Anticoll(str);
	  if(readSucess == MI_OK)
	  {
		  memcpy(sNum,str,5);
		  status = MFRC522_2_SelectTag(sNum);
		  if(status > 0)
		  {
			  MFRC522_2_Halt();// Halt previous card
			  MFRC522_2_StopCrypto1();

		  }
	  }
	}
	MFRC522_2_Halt();// Halt previous card
	MFRC522_2_StopCrypto1();
	HAL_Delay(100);
	return readSucess;
}

//function to compare two int8 arrays
/*Description:  This function compares the content of the 2 8bit int arrays
Author: 		Siddhant Mahindrkar
Date: 			15/04/2025
Inputs: 		pointer to the arrays, size of the array
Output: 		returns true if all contents of array matches
*/
uchar compareIntArrays(uchar *arr1, uchar *arr2, uchar size)
{
    for (uchar i = 0; i < size; i++) {
        if (arr1[i] != arr2[i]) {
            return 0; // Arrays are different
        }
    }
    return 1; // Arrays are equal
}

//Function to clear int8 array elements
/*Description:  This function deletes the content of the 8bit int arrays
Author: 		Siddhant Mahindrkar
Date: 			15/04/2025
Inputs: 		pointer to the array, size of the array
Output: 		returns true if all contents of array matches
*/
void clearArrayEle (uchar *arrPtr, uchar size)
{
	for(uchar i = 0; i < size; i++)
	{
		arrPtr[i]=0;
	}
}

//Function to check a valid user and display message
/*Description:  This function compares the content of the 8bit int arrays to determine whether the users UID read from the card belongs to
				the predefined users
Author: 		Siddhant Mahindrkar
Date: 			15/04/2025
Inputs: 		pointer to the predefined user UID arrays and pointer to the UID read from the RFID tag, Size of the arrays
Output: 		returns true if read UID matches with predefined user UID's
*/
uchar checkValidUser(uchar *arr1, uchar *arr2, uchar *arr3, uchar *arr4, uchar *arr5, uchar *arr6, uchar size)
{
	uchar valid1 = 0;
	uchar valid2 = 0;
	uchar valid3 = 0;
	uchar valid4 = 0;
	uchar valid5 = 0;

	valid1 = compareIntArrays(arr1, arr2, size);
	valid2 = compareIntArrays(arr1, arr3, size);
	valid3 = compareIntArrays(arr1, arr4, size);
	valid4 = compareIntArrays(arr1, arr5, size);
	valid5 = compareIntArrays(arr1, arr6, size);

	if(valid1 || valid2 || valid3 || valid4 || valid5)
	{
		return TRUE;
	}
	else
	{
		return FALSE;
	}
}

//function to display welcome message
/*Description:  This function sets the LCD display with Welcome message
Author: 		Siddhant Mahindrkar
Date: 			15/04/2025
Inputs: 		none
Output: 		none
*/
void welcomeMsglcd (void)
{
	HD44780_Clear();
	HD44780_SetCursor(0,0);
	HD44780_PrintStr("Welcome to ");
	HD44780_SetCursor(0,1);
	HD44780_PrintStr("Smart IOTmailbox");
}

//Function to display new mail/package notification
/*Description:  This function diplays new message on the LCD display for set period of time
Author: 		Siddhant Mahindrkar
Date: 			15/04/2025
Inputs: 		literal string value of length 16 characters,literal string value of length 16 characters,time in msec for message to display
Output: 		none
*/
void newNotificationlcd(const char *line1, const char *line2, uint16_t delay_ms)
{
	HD44780_Clear();
	HD44780_SetCursor(0,0);
	HD44780_PrintStr(line1);
	HD44780_SetCursor(0,1);
	HD44780_PrintStr(line2);
	HAL_Delay(delay_ms);
}

//Function to set a new screen on display
/*Description:  This function sets the LCD diplay with a message untill next command
Author: 		Siddhant Mahindrkar
Date: 			15/04/2025
Inputs: 		literal string value of length 16 characters,literal string value of length 16 characters
Output: 		none
*/
void setLCDHMIscreen(const char *line1, const char *line2)
{
	HD44780_Clear();
	HD44780_SetCursor(0,0);
	HD44780_PrintStr(line1);
	HD44780_SetCursor(0,1);
	HD44780_PrintStr(line2);
}

//Function to display menu screens
/*Description:  This function diplays a particular message upon an indexing variable passed to it.
Author: 		Siddhant Mahindrkar
Date: 			15/04/2025
Inputs: 		Indexing variable.(0-8 values of this variable has a message assigned to it)
Output: 		none
*/
void DisplayMenu(MenuState_t state, char key)
{
	uchar buffer[20];
	char astrik[5] = "****";
	astrik[passwordIndex] = '\0';  // Adjust * display

	switch(state)
	{
		case HOME_SCREEN:
			welcomeMsglcd();
			break;
		case MAIN_MENU:
			setLCDHMIscreen("A:User1 B:User2","C:User3 0:Exit");
			break;
		case USER_MENU:
			setLCDHMIscreen("1:Mail 2:Package","#:Back *:Home");
			break;
		case MAIL_MENU:
			setLCDHMIscreen("1:Check 2:Retrieve","#:Back *:Home");
			break;
		case PACKAGE_MENU:
			setLCDHMIscreen("1:Check 2:Retrieve","#:Back *:Home");
			break;
		case CHECK_MAIL:
			if(currentUser == 1)
			{
				sprintf(buffer,"User1 has %d",user1Info.mailCount);
				newNotificationlcd(buffer,"mails",2000);
				welcomeMsglcd();
			}
			if(currentUser == 2)
			{
				sprintf(buffer,"User2 has %d",user2Info.mailFlag);
				newNotificationlcd(buffer,"mail",2000);
				welcomeMsglcd();
			}
			if(currentUser == 3)
			{
				sprintf(buffer,"User3 has %d",user3Info.mailFlag);
				newNotificationlcd(buffer,"mail",2000);
				welcomeMsglcd();
			}
			break;
		case RETRIEVE_MAIL:
			if (currentState == RETRIEVE_MAIL)
			{
				enteringPassword = TRUE;
				passwordIndex = 0;
				attempts = 0;
				setLCDHMIscreen("Enter Password", "****");
			}
			break;
		case CHECK_PACKAGE:
			if(currentUser == 1)
			{
				if(user1Info.parcelFlag)
				{
					newNotificationlcd("User1 has a","Package",2000);
					welcomeMsglcd();
				}
				else{
					newNotificationlcd("User1 has no","Package",2000);
					welcomeMsglcd();
				}

			}
			if(currentUser == 2)
			{
				if(user2Info.parcelFlag)
				{
					newNotificationlcd("User2 has a","Package",2000);
					welcomeMsglcd();
				}
				else{
					newNotificationlcd("User2 has no","Package",2000);
					welcomeMsglcd();
				}
			}
			if(currentUser == 3)
			{
				if(user3Info.parcelFlag)
				{
					newNotificationlcd("User3 has a","Package",2000);
					welcomeMsglcd();
				}
				else{
					newNotificationlcd("User3 has no","Package",2000);
					welcomeMsglcd();
				}
			}
			break;
		case RETRIEVE_PACKAGE:
			if (currentState == RETRIEVE_PACKAGE)
			{
				enteringPassword = TRUE;
				passwordIndex = 0;
				attempts = 0;
				setLCDHMIscreen("Enter Password", "****");
			}
			break;
		default:
			break;
	}
}

// Function to get the correct password based on the user
/*Description:  This function gets the random 4 digit generated password for USER1/2/3. If Retriev mail option is selected it generates 4digit numeric password
  	  	  	  	unique to each user
Author: 		Siddhant Mahindrkar
Date: 			15/04/2025
Inputs: 		none
Output: 		pointer to the array that contains the password. Unique for each user both in mail and package mode
*/
char* getUserPassword()
{
    switch (currentUser)
    {
    		case 1:
                return (currentState == RETRIEVE_MAIL) ? genPassword1 : genPassword4;
            case 2:
                return (currentState == RETRIEVE_MAIL) ? genPassword2 : genPassword5;
            case 3:
                return (currentState == RETRIEVE_MAIL) ? genPassword3 : genPassword6;
            default:
                return "0000";
    }
}

//Function to scroll through menu screens upon input
/*Description:  This function does the password matching and retrival operation. if password matches then retives the mail/package upon menu selected
 * 				Resets the count flag/variable of the user if mail/packages retrieved and sends the message to the user of retrival notification
Author: 		Siddhant Mahindrkar
Date: 			15/04/2025
Inputs: 		key: '' literal value of the key pressed by the user on keypad returned for scanKeys(); function
Output: 		none
*/
void HandleInput(char key)
{
	char temp[5];
	if (enteringPassword) {
	        if (key >= '0' && key <= '9' && passwordIndex < 4) {
	            inputPassword[passwordIndex++] = key;
	            inputPassword[passwordIndex] = '\0';
	            char maskedDisplay[5] = "****";  // Masked display
	            maskedDisplay[passwordIndex] = '\0';
	            setLCDHMIscreen("Enter Password", maskedDisplay);
	        }
	        else if (key == '#' && passwordIndex > 0) {  // Backspace functionality
	            passwordIndex--;
	            inputPassword[passwordIndex] = '\0';
	            char maskedDisplay[5] = "****";
	            maskedDisplay[passwordIndex] = '\0';
	            setLCDHMIscreen("Enter Password", maskedDisplay);
	        }
	        else if (passwordIndex == 4) {

	        	strcpy(temp,getUserPassword());
	            if (strcmp(inputPassword, getUserPassword()) == 0) {
	                setLCDHMIscreen("Access Granted", "Opening...");
	                HAL_Delay(2000);
	                welcomeMsglcd();
	                if(currentUser == 1)
	                {
	                	if (currentState == RETRIEVE_MAIL)
						{
							user1Info.mailCount = 0;
							HAL_GPIO_WritePin(GPIOC, GPIO_PIN_6, GPIO_PIN_RESET);
							sprintf(buf1,"USER1\n\r");
							HAL_UART_Transmit(&huart2,buf1,sizeof(buf1), HAL_MAX_DELAY);
							clearArrayEle(buf1 ,8);

							//save the notification locally and send it to the ESP32
							sprintf(buf,"User 1 all mails were retrieved\n");
							HAL_UART_Transmit(&huart2,buf,sizeof(buf), HAL_MAX_DELAY);
							clearArrayEle(buf ,70);
						}
	                	if(currentState == RETRIEVE_PACKAGE)
	                	{
	                		user1Info.parcelFlag = FALSE;
	                		HAL_GPIO_WritePin(GPIOC, GPIO_PIN_9, GPIO_PIN_RESET);

	                		__HAL_TIM_SET_COMPARE(&htim2, TIM_CHANNEL_4, 1500);
							//allow delay to place the package and close after delay
							HAL_Delay(10000);
							__HAL_TIM_SET_COMPARE(&htim2, TIM_CHANNEL_4, 500);

	                		sprintf(buf1,"USER1\n\r");
							HAL_UART_Transmit(&huart2,buf1,sizeof(buf1), HAL_MAX_DELAY);
							clearArrayEle(buf1 ,8);

							//save the notification locally and send it to the ESP32
							sprintf(buf,"User 1 all packages were retrieved\n");
							HAL_UART_Transmit(&huart2,buf,sizeof(buf), HAL_MAX_DELAY);
							clearArrayEle(buf ,70);
	                		/*__HAL_TIM_SET_COMPARE(&htim2, TIM_CHANNEL_1, 2500);
	                		HAL_Delay(3000);
	                		__HAL_TIM_SET_COMPARE(&htim2, TIM_CHANNEL_1, 500);*/
	                	}
	                }
	                if(currentUser == 2)
	                {
	                	if(currentState == RETRIEVE_MAIL)
	                	{
	                		user2Info.mailFlag = FALSE;
	                		HAL_GPIO_WritePin(GPIOC, GPIO_PIN_7, GPIO_PIN_RESET);
	                		sprintf(buf1,"USER2\n\r");
							HAL_UART_Transmit(&huart2,buf1,sizeof(buf1), HAL_MAX_DELAY);
							clearArrayEle(buf1 ,8);

							//save the notification locally and send it to the ESP32
							sprintf(buf,"User 2 all mails were retrieved\n");
							HAL_UART_Transmit(&huart2,buf,sizeof(buf), HAL_MAX_DELAY);
							clearArrayEle(buf ,70);
	                	}
	                	if(currentState == RETRIEVE_PACKAGE)
						{
							user2Info.parcelFlag = FALSE;
							HAL_GPIO_WritePin(GPIOC, GPIO_PIN_9, GPIO_PIN_RESET);

							__HAL_TIM_SET_COMPARE(&htim2, TIM_CHANNEL_4, 1500);
							//allow delay to place the package and close after delay
							HAL_Delay(10000);
							__HAL_TIM_SET_COMPARE(&htim2, TIM_CHANNEL_4, 500);

							sprintf(buf1,"USER2\n\r");
							HAL_UART_Transmit(&huart2,buf1,sizeof(buf1), HAL_MAX_DELAY);
							clearArrayEle(buf1 ,8);

							//save the notification locally and send it to the ESP32
							sprintf(buf,"User 2 all packages were retrieved\n");
							HAL_UART_Transmit(&huart2,buf,sizeof(buf), HAL_MAX_DELAY);
							clearArrayEle(buf ,70);
							/*__HAL_TIM_SET_COMPARE(&htim2, TIM_CHANNEL_1, 2500);
							HAL_Delay(3000);
							__HAL_TIM_SET_COMPARE(&htim2, TIM_CHANNEL_1, 500);*/
						}
	                }
	                if(currentUser == 3)
	                {
	                	if(currentState == RETRIEVE_MAIL)
	                	{
	                		user3Info.mailFlag = FALSE;
	                		HAL_GPIO_WritePin(GPIOC, GPIO_PIN_8, GPIO_PIN_RESET);
	                		sprintf(buf1,"USER3\n\r");
							HAL_UART_Transmit(&huart2,buf1,sizeof(buf1), HAL_MAX_DELAY);
							clearArrayEle(buf1 ,8);

							//save the notification locally and send it to the ESP32
							sprintf(buf,"User 3 all mails were retrieved\n");
							HAL_UART_Transmit(&huart2,buf,sizeof(buf), HAL_MAX_DELAY);
							clearArrayEle(buf ,70);
	                	}
	                	if(currentState == RETRIEVE_PACKAGE)
						{
							user2Info.parcelFlag = FALSE;
							HAL_GPIO_WritePin(GPIOC, GPIO_PIN_9, GPIO_PIN_RESET);

							__HAL_TIM_SET_COMPARE(&htim2, TIM_CHANNEL_4, 1500);
							//allow delay to place the package and close after delay
							HAL_Delay(10000);
							__HAL_TIM_SET_COMPARE(&htim2, TIM_CHANNEL_4, 500);

							sprintf(buf1,"USER3\n\r");
							HAL_UART_Transmit(&huart2,buf1,sizeof(buf1), HAL_MAX_DELAY);
							clearArrayEle(buf1 ,8);

							//save the notification locally and send it to the ESP32
							sprintf(buf,"User 3 all packages were retrieved\n");
							HAL_UART_Transmit(&huart2,buf,sizeof(buf), HAL_MAX_DELAY);
							clearArrayEle(buf ,70);
							/*__HAL_TIM_SET_COMPARE(&htim2, TIM_CHANNEL_1, 2500);
							HAL_Delay(3000);
							__HAL_TIM_SET_COMPARE(&htim2, TIM_CHANNEL_1, 500);*/
						}
	                }
	                currentState = MAIN_MENU;
	                enteringPassword = FALSE;
	            } else {
	                attempts++;
	                if (attempts >= 3) {
	                    setLCDHMIscreen("Access Denied", "Too Many Tries");
	                    HAL_Delay(2000);
	                    welcomeMsglcd();
	                    currentState = MAIN_MENU;
	                    enteringPassword = FALSE;
	                } else {
	                    setLCDHMIscreen("Incorrect!", "Try Again");
	                    HAL_Delay(1500);
	                    setLCDHMIscreen("Enter Password", "****");
	                    passwordIndex = 0;
	                }
	            }
	        }
	        return;
	    }

	switch(key)
	{
		case '0':
			if (!enteringPassword) currentState = HOME_SCREEN;
			break;
		case '*':
			currentState = MAIN_MENU;
			break;
		case '#':
			if(currentState == CHECK_MAIL || currentState == RETRIEVE_MAIL)
			{
				currentState = MAIL_MENU;
			}
			else if(currentState == CHECK_PACKAGE || currentState == RETRIEVE_PACKAGE)
			{
				currentState = PACKAGE_MENU;
			}
			else if(currentState == MAIL_MENU || currentState == PACKAGE_MENU)
			{
				currentState = USER_MENU;
			}
			else if(currentState == USER_MENU)
			{
				 currentState = MAIN_MENU;
			}
			break;
		case 'A': case 'B': case 'C':
		    currentUser = key - 'A' + 1;
		    currentState = USER_MENU;
		    break;
		case '1':  // Navigate inside user sub menus
			///if(currentState != RETRIEVE_MAIL && currentState != RETRIEVE_PACKAGE)
			if (currentState == USER_MENU) currentState = MAIL_MENU;
			else if (currentState == MAIL_MENU) currentState = CHECK_MAIL;
			else if (currentState == PACKAGE_MENU) currentState = CHECK_PACKAGE;
			break;
		case '2':
			//if(currentState != RETRIEVE_MAIL && currentState != RETRIEVE_PACKAGE)
			if (currentState == USER_MENU) currentState = PACKAGE_MENU;
			else if (currentState == MAIL_MENU) currentState = RETRIEVE_MAIL;
			else if (currentState == PACKAGE_MENU) currentState = RETRIEVE_PACKAGE;
			break;
		default:
			break;
	}
	DisplayMenu(currentState,key);
}

//Generate password
/*Description:  This function generates the randon 4digit(0-9) numerical password
Author: 		Siddhant Mahindrkar
Date: 			15/04/2025
Inputs: 		none
Output: 		pointer to the array that must store the generated password
*/
void generate_password(uchar *password)
{
	srand(HAL_GetTick());
	for (int i = 0; i < 4; i++) {
	        password[i] = '0' + (rand() % 10);  // Generate random 0-9 digit
	    }
	password[4] = '\0';
}

/* USER CODE END 4 */

void Error_Handler(void)
{
  __disable_irq();
  while (1)
  {
  }
}
